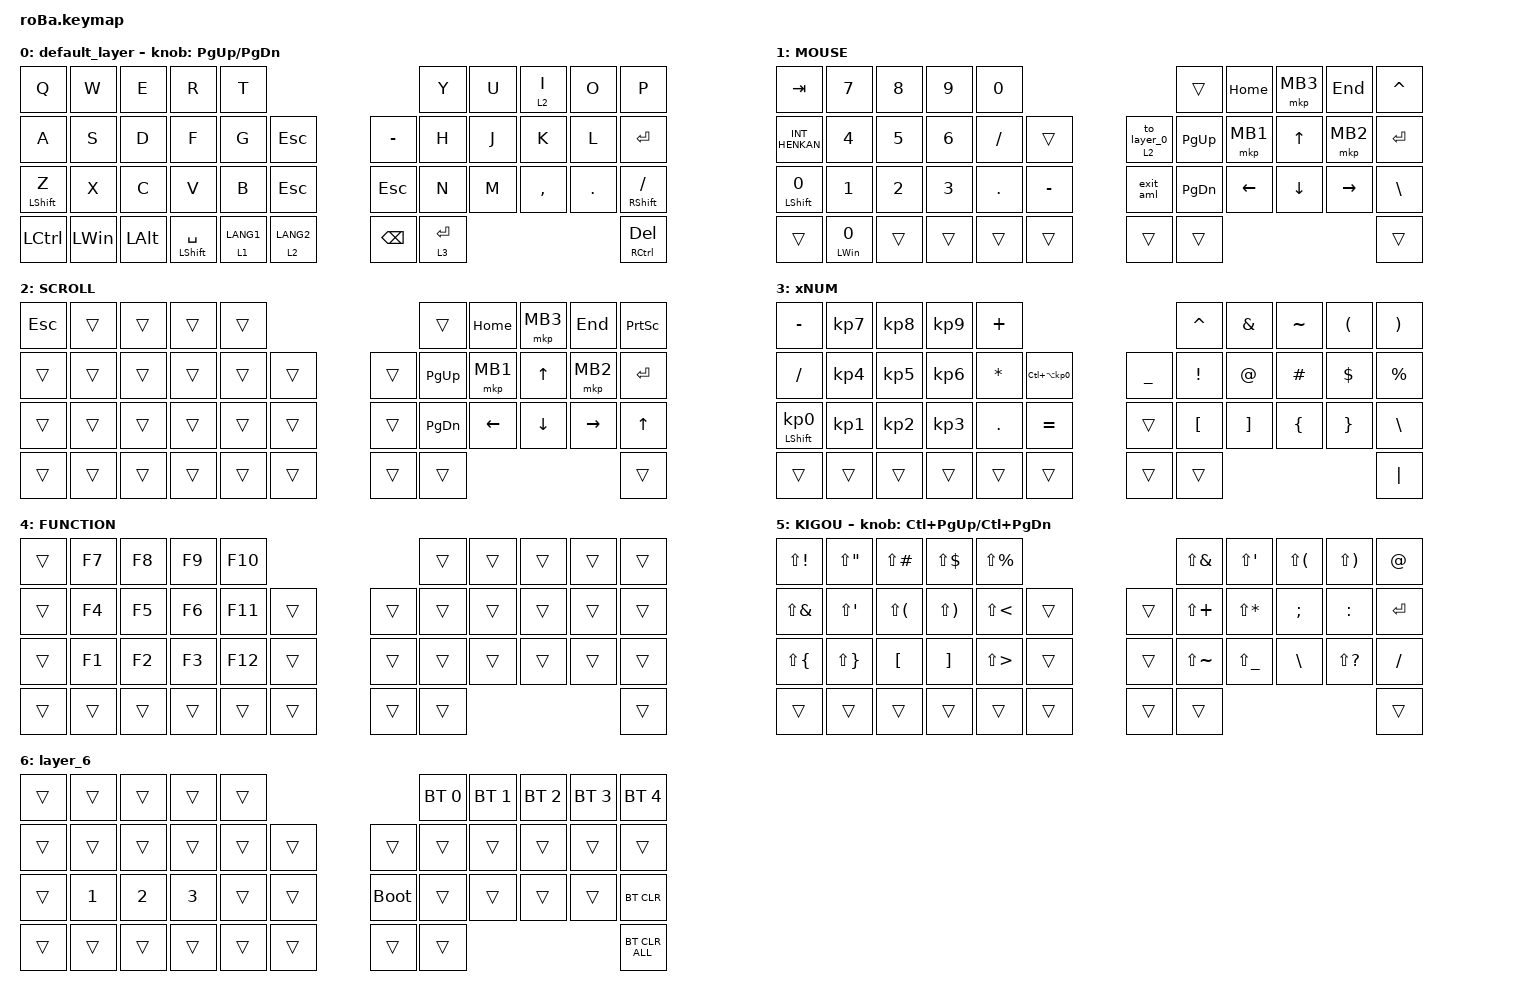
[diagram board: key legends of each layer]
#include <behaviors.dtsi>
#include <dt-bindings/zmk/bt.h>
#include <dt-bindings/zmk/keys.h>
#include <dt-bindings/zmk/pointing.h>

&mt {
    flavor = "balanced";
    quick-tap-ms = <0>;
};

&trackball {
    automouse-layer = <4>;
    scroll-layers = <5>;

    // arrows {
    //     layers = <3>;
    //     bindings =
    //         <&kp RIGHT_ARROW>,
    //         <&kp LEFT_ARROW>,
    //         <&kp UP_ARROW>,
    //         <&kp DOWN_ARROW>;
    //     tick = <10>;
    //     wait-ms = <5>;
    //     tap-ms = <5>;
    // };
};

/ {
    combos {
        compatible = "zmk,combos";

        tab {
            bindings = <&kp TAB>;
            key-positions = <0 1>;
        };

        shift_tab {
            bindings = <&kp LS(TAB)>;
            key-positions = <1 2>;
        };

        delete {
            bindings = <&kp DEL>;
            key-positions = <39 40>;
        };
    };

    macros {
        to_layer_0: to_layer_0 {
            compatible = "zmk,behavior-macro";
            #binding-cells = <0>;
            bindings = <&to 0>;
            label = "TO_LAYER_0";
        };

        new_macro: new_macro {
            compatible = "zmk,behavior-macro";
            #binding-cells = <0>;
            bindings = <&none>;
            label = "NEW_MACRO";
        };

        exit_aml: exit_aml {
            compatible = "zmk,behavior-macro";
            #binding-cells = <0>;
            bindings = <&to 0>;
            label = "EXIT_AML";
        };
    };

    behaviors {
        lt_to_layer_0: lt_to_layer_0 {
            compatible = "zmk,behavior-hold-tap";
            label = "LAYER_TAP_TO_0";
            bindings = <&mo>, <&to_layer_0>;

            #binding-cells = <2>;
            tapping-term-ms = <200>;
        };

        new_behavior: new_behavior {
            compatible = "zmk,behavior-caps-word";
            label = "NEW_BEHAVIOR";
            #binding-cells = <0>;
            continue-list = <C>;
        };
    };

    keymap {
        compatible = "zmk,keymap";

        default_layer {
            bindings = <
&kp Q             &kp W         &kp E         &kp R                 &kp T                                                   &kp Y        &kp U  &lt 2 I    &kp O    &kp P
&kp A             &kp S         &kp D         &kp F                 &kp G        &kp ESC                     &kp MINUS      &kp H        &kp J  &kp K      &kp L    &kp ENTER
&mt LEFT_SHIFT Z  &kp X         &kp C         &kp V                 &kp B        &kp ESC                     &kp ESC        &kp N        &kp M  &kp COMMA  &kp DOT  &mt RIGHT_SHIFT SLASH
&kp LCTRL         &kp LEFT_WIN  &kp LEFT_ALT  &mt LEFT_SHIFT SPACE  &lt 1 LANG1  &lt_to_layer_0 2 LANG2      &kp BACKSPACE  &lt 3 ENTER                             &mt RCTRL DEL
            >;

            sensor-bindings = <&inc_dec_kp PG_UP PAGE_DOWN>;
        };

        MOUSE {
            bindings = <
&kp TAB            &kp N7           &kp N8  &kp N9  &kp N0                                       &trans     &kp HOME  &mkp MB3  &kp END    &kp CARET
&kp INT_HENKAN     &kp N4           &kp N5  &kp N6  &kp FSLH  &trans         &lt_to_layer_0 2 0  &kp PG_UP  &mkp MB1  &kp UP    &mkp MB2   &kp RET
&mt LEFT_SHIFT N0  &kp N1           &kp N2  &kp N3  &kp DOT   &kp MINUS      &exit_aml           &kp PG_DN  &kp LEFT  &kp DOWN  &kp RIGHT  &kp BSLH
&trans             &mt LEFT_WIN N0  &trans  &trans  &trans    &trans         &trans              &trans                                    &trans
            >;
        };

        SCROLL {
            bindings = <
&kp ESC  &trans  &trans  &trans  &trans                      &trans     &kp HOME  &mkp MB3  &kp END    &kp PRINTSCREEN
&trans   &trans  &trans  &trans  &trans  &trans      &trans  &kp PG_UP  &mkp MB1  &kp UP    &mkp MB2   &kp RET
&trans   &trans  &trans  &trans  &trans  &trans      &trans  &kp PG_DN  &kp LEFT  &kp DOWN  &kp RIGHT  &kp UP
&trans   &trans  &trans  &trans  &trans  &trans      &trans  &trans                                    &trans
            >;
        };

        xNUM {
            bindings = <
&kp MINUS                   &kp KP_NUMBER_7  &kp KP_NUMBER_8  &kp KP_NUMBER_9  &kp PLUS                                                   &kp CARET         &kp AMPERSAND      &kp TILDE       &kp LEFT_PARENTHESIS  &kp RIGHT_PARENTHESIS
&kp SLASH                   &kp KP_NUMBER_4  &kp KP_NUMBER_5  &kp KP_NUMBER_6  &kp ASTERISK  &kp LC(LA(KP_NUMBER_0))      &kp UNDERSCORE  &kp EXCLAMATION   &kp AT_SIGN        &kp HASH        &kp DOLLAR            &kp PERCENT
&mt LEFT_SHIFT KP_NUMBER_0  &kp KP_NUMBER_1  &kp KP_NUMBER_2  &kp KP_NUMBER_3  &kp PERIOD    &kp EQUAL                    &trans          &kp LEFT_BRACKET  &kp RIGHT_BRACKET  &kp LEFT_BRACE  &kp RIGHT_BRACE       &kp BACKSLASH
&trans                      &trans           &trans           &trans           &trans        &trans                       &trans          &trans                                                                     &kp PIPE
            >;
        };

        FUNCTION {
            bindings = <
&trans  &kp F7  &kp F8  &kp F9  &kp F10                      &trans  &trans  &trans  &trans  &trans
&trans  &kp F4  &kp F5  &kp F6  &kp F11  &trans      &trans  &trans  &trans  &trans  &trans  &trans
&trans  &kp F1  &kp F2  &kp F3  &kp F12  &trans      &trans  &trans  &trans  &trans  &trans  &trans
&trans  &trans  &trans  &trans  &trans   &trans      &trans  &trans                          &trans
            >;
        };

        KIGOU {
            bindings = <
&kp LS(EXCL)  &kp LS(DQT)   &kp LS(POUND)  &kp LS(DLLR)  &kp LS(PRCNT)                      &kp LS(AMPS)   &kp LS(SQT)    &kp LS(LPAR)  &kp LS(RPAR)   &kp AT
&kp LS(AMPS)  &kp LS(SQT)   &kp LS(LPAR)   &kp LS(RPAR)  &kp LS(LT)     &trans      &trans  &kp LS(PLUS)   &kp LS(STAR)   &kp SEMI      &kp COLON      &kp RET
&kp LS(LBRC)  &kp LS(RBRC)  &kp LBKT       &kp RBKT      &kp LS(GT)     &trans      &trans  &kp LS(TILDE)  &kp LS(UNDER)  &kp BSLH      &kp LS(QMARK)  &kp FSLH
&trans        &trans        &trans         &trans        &trans         &trans      &trans  &trans                                                     &trans
            >;

            sensor-bindings = <&inc_dec_kp LC(PAGE_UP) LC(PAGE_DOWN)>;
        };

        layer_6 {
            bindings = <
&trans  &trans        &trans        &trans        &trans                           &bt BT_SEL 0  &bt BT_SEL 1  &bt BT_SEL 2  &bt BT_SEL 3  &bt BT_SEL 4
&trans  &trans        &trans        &trans        &trans  &trans      &trans       &trans        &trans        &trans        &trans        &trans
&trans  &kp NUMBER_1  &kp NUMBER_2  &kp NUMBER_3  &trans  &trans      &bootloader  &trans        &trans        &trans        &trans        &bt BT_CLR
&trans  &trans        &trans        &trans        &trans  &trans      &trans       &trans                                                  &bt BT_CLR_ALL
            >;
        };
    };
};
